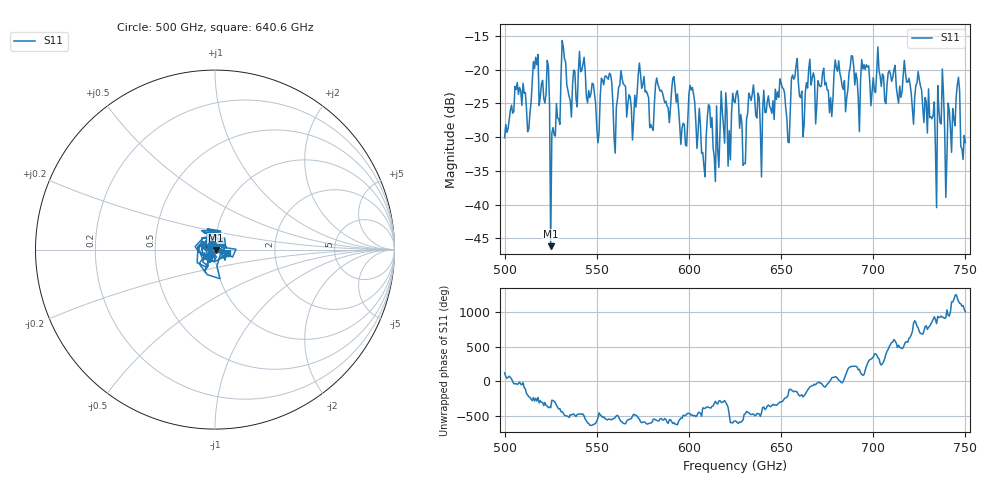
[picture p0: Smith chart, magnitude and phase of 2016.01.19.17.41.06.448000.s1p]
!Created with skrf (http://scikit-rf.org).
# GHz S RI R 50.0
!freq ReS11 ImS11
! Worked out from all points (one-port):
!   401 points, 500 GHz to 750 GHz, reference 50 ohm
!   lowest |S11| = -46.1 dB at 525 GHz (marker M1), VSWR 1.01, Z = 50.5 - j0.202 ohm
!   |S11| at or under -10 dB: start of sweep to end of sweep
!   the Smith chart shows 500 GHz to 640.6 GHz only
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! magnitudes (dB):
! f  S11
! 500 GHz  -30.1
! 506.9 GHz  -21.9
! 513.1 GHz  -28.8
! 516.9 GHz  -18.2
! 523.1 GHz  -18.6
! 525 GHz  -46.1
! 526.2 GHz  -28.6
! 531.2 GHz  -15.7
! 541.9 GHz  -20.1
! 550.6 GHz  -30.9
! 553.8 GHz  -22.2
! 562.5 GHz  -22.3
! 593.8 GHz  -23.6
! 597.5 GHz  -28.1
! 601.9 GHz  -22.6
! 608.1 GHz  -34.3
! 625 GHz  -24.9
! 630 GHz  -33.9
! 633.8 GHz  -24.6
! 640 GHz  -25.8
! 650.6 GHz  -22.6
! 653.8 GHz  -30.8
! 656.2 GHz  -20.8
! 687.5 GHz  -19.6
! 718.8 GHz  -21.9
! 733.1 GHz  -24.8
! 745.6 GHz  -22.2
! 750 GHz  -30.8
